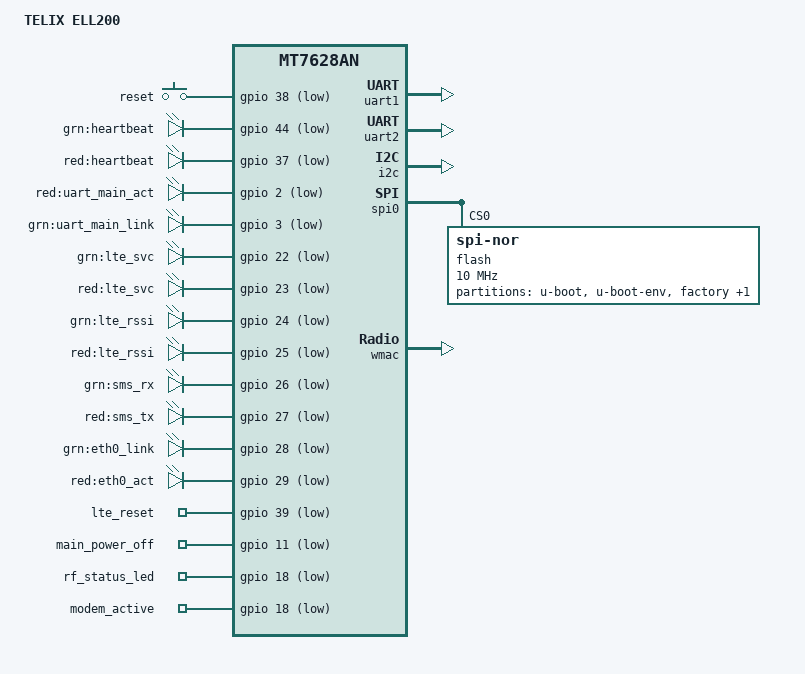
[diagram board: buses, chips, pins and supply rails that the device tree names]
// SPDX-License-Identifier: GPL-2.0-or-later OR MIT

#include "mt7628an.dtsi"

#include <dt-bindings/gpio/gpio.h>
#include <dt-bindings/input/input.h>

/ {
	compatible = "telix,ell200", "mediatek,mt7628an-soc";
	model = "TELIX ELL200";

	aliases {
		led-boot = &led_heartbeat;
		led-failsafe = &led_heartbeat;
		led-running = &led_heartbeat;
		led-upgrade = &led_heartbeat;	
	};

	chosen {
		bootargs = "console=ttyS0,115200";
	};
	
	keys {
		compatible = "gpio-keys";

		reset {
			label = "reset";
			gpios = <&gpio 38 GPIO_ACTIVE_LOW>;
			linux,code = <KEY_RESTART>;
		};
	};

	leds {
		compatible = "gpio-leds";

		/*33->WLED_N[GPIO#44]->LED_GRN_HEARTBEAT*/	
		led_heartbeat: heartbeat {
			label = "grn:heartbeat";
			gpios = <&gpio 44 GPIO_ACTIVE_LOW>;
			default-state = "on";
		};

		/*6->REF_CLK0[GPIO#37]->LED_RED_HEARTBEAT*/
		led_red_heartbeat{
			label = "red:heartbeat";
			gpios = <&gpio 37 GPIO_ACTIVE_LOW>;
			default-state = "off";				
		};

		/*19->I2S_WS[GPIO#2]->LED_RED_UART_MAIN_ACT*/
		led_red_uart_main_act{
			label = "red:uart_main_act";
			gpios = <&gpio 2 GPIO_ACTIVE_LOW>;
			default-state = "off";		
		};
		
		/*20->I2S_CLK[GPIO#3]->LED_GRN_UART_MAIN_LINK*/	
		led_grn_uart_main_link{
			label = "grn:uart_main_link";
			gpios = <&gpio 3 GPIO_ACTIVE_LOW>;
			default-state = "off";				
		};	

		/*46->MDI_TP_P3[GPIO#22]->LED_GRN_LTE_SVC*/
		led_grn_lte_svc{
			label = "grn:lte_svc";
			gpios = <&gpio 22 GPIO_ACTIVE_LOW>;
			default-state = "off";
		};	
		
		/*47->MDI_TN_P3[GPIO#23]->LED_RED_LTE_SVC*/
		led_red_lte_svc{
			label = "red:lte_svc";
			gpios = <&gpio 23 GPIO_ACTIVE_LOW>;
			default-state = "off";
		};
				
		/*48->MDI_RP_P3[GPIO#24]->LED_GRN_LTE_RSSI*/
		led_grn_lte_rssi{
			label = "grn:lte_rssi";
			gpios = <&gpio 24 GPIO_ACTIVE_LOW>;
			default-state = "off";
		};	
		
		/*49->MDI_RN_P3[GPIO#25]->LED_RED_LTE_RSSI*/
		led_red_lte_rssi{
			label = "red:lte_rssi";
			gpios = <&gpio 25 GPIO_ACTIVE_LOW>;
			default-state = "off";
		};			
		
		/*50->MDI_RP_P4[GPIO#26]->LED_GRN_SMS_RX*/
		led_grn_sms_rx{
			label = "grn:sms_rx";
			gpios = <&gpio 26 GPIO_ACTIVE_LOW>;
			default-state = "off";
		};	
		
		/*51-> MDI_RN_P4[GPIO#27]->LED_RED_SMS_TX*/
		led_red_sms_tx{
			label = "red:sms_tx";
			gpios = <&gpio 27 GPIO_ACTIVE_LOW>;
			default-state = "off";
		};	

		/*52->MDI_TP_P4[GPIO#28]->LED_GRN_ETH0_LINK*/
		led_grn_eth0_link{
			label = "grn:eth0_link";
			gpios = <&gpio 28 GPIO_ACTIVE_LOW>;
			default-state = "off";
		};	
		
		/*53-> MDI_TN_P4[GPIO#29]->LED_RED_ETH0_ACT*/
		led_red_eth0_act{
			label = "red:eth0_act";
			gpios = <&gpio 29 GPIO_ACTIVE_LOW>;
			default-state = "off";
		};							
	};

	gpio_export {
		compatible = "gpio-export";
		#size-cells = <0>;

		/*9-> EPHY_LED4[GPIO#39]->LTE_RESET*/
		lte_reset {
			gpio-export,name = "lte_reset";
			gpio-export,output = <1>;
			gpios = <&gpio 39 (GPIO_ACTIVE_LOW | GPIO_PULL_UP)>;
		};

		/*30-> GPIO0[GPIO#11]->MAIN_POWER_OFF*/
		main_power_off {
			gpio-export,name = "main_power_off";
			gpio-export,input = <0>;
			gpios = <&gpio 11 GPIO_ACTIVE_LOW>;
		};

		/*42-> MDI_RP_P2[GPIO#18]->RF_STATUS_LED*/
		rf_status_led {
			gpio-export,name = "rf_status_led";
			gpio-export,output = <1>;
			gpios = <&gpio 18 GPIO_ACTIVE_LOW>;
		};		

		/*43-> MDI_RN_P2[GPIO#19]->MODEM_ACTIVE*/
		modem_active {
			gpio-export,name = "modem_active";
			gpio-export,output = <1>;
			gpios = <&gpio 18 GPIO_ACTIVE_LOW>;
		};				
	};	

};

&state_default {
	gpio {
		groups = "refclk", "perst", "wdt", "p4led_an", "p3led_an", "p2led_an", "p1led_an", "p0led_an", "i2s","gpio0", "sd", "wled_an","pwm0","pwm1";
		function = "gpio";
	};
};

&uart1 {
	status = "okay";
};

&uart2 {
	status = "okay";
};

&i2c {
	status = "okay";
};

&spi0 {
	status = "okay";

	flash@0 {
		compatible = "jedec,spi-nor";
		reg = <0>;
		spi-max-frequency = <10000000>;
		broken-flash-reset;

		partitions {
			compatible = "fixed-partitions";
			#address-cells = <1>;
			#size-cells = <1>;

			partition@0 {
				label = "u-boot";
				reg = <0x0 0x30000>;
				read-only;
			};

			partition@30000 {
				label = "u-boot-env";
				reg = <0x30000 0x10000>;
				read-only;
			};

			factory: partition@40000 {
				label = "factory";
				reg = <0x40000 0x10000>;
				read-only;

				nvmem-layout {
					compatible = "fixed-layout";
					#address-cells = <1>;
					#size-cells = <1>;

					eeprom_factory_0: eeprom@0 {
						reg = <0x0 0x400>;
					};

					macaddr_factory_28: macaddr@28 {
						reg = <0x28 0x6>;
					};
				};
			};

			partition@50000 {
				compatible = "denx,uimage";
				label = "firmware";
				reg = <0x50000 0x1fb0000>;
			};
		};
	};
};

&ethernet {
	nvmem-cells = <&macaddr_factory_28>;
	nvmem-cell-names = "mac-address";
};

&wmac {
	status = "okay";

	nvmem-cells = <&eeprom_factory_0>;
	nvmem-cell-names = "eeprom";
};
